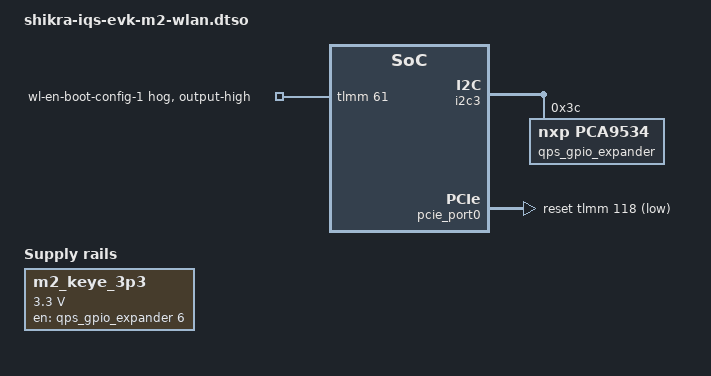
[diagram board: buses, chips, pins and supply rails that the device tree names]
// SPDX-License-Identifier: BSD-3-Clause
/*
 * Copyright (c) 2026 Qualcomm Technologies, Inc. and/or its subsidiaries.
 */

/dts-v1/;
/plugin/;

#include <dt-bindings/gpio/gpio.h>

&{/} {
	m2_keye_3p3: regulator-m2-keye-3p3 {
		compatible = "regulator-fixed";
		regulator-name = "VREG_3P3_KEYE";
		regulator-min-microvolt = <3300000>;
		regulator-max-microvolt = <3300000>;
		gpio = <&qps_gpio_expander 6 GPIO_ACTIVE_HIGH>;
		enable-active-high;
		regulator-boot-on;
		startup-delay-us = <100000>;
	};
};

&{/wcn3988-pmu} {
	status = "disabled";
};

&i2c3 {
	qps_gpio_expander: gpio@3c {
		compatible = "nxp,pca9534";
		reg = <0x3c>;
		gpio-controller;
		#gpio-cells = <2>;
	};
};

&pcie {
	iommu-map = <0x0 &apps_smmu 0x0800 0x0 0x1>,
		    <0x100 &apps_smmu 0x0801 0x0 0x1>;
	vddpe-3v3-supply = <&m2_keye_3p3>;
};

&pcie_port0 {
	reset-gpios = <&tlmm 118 GPIO_ACTIVE_LOW>;
};

&tc9563 {
	/* Keep the disabled switch node from matching the direct endpoint. */
	reg = <0x1ff00 0x0 0x0 0x0 0x0>;
	status = "disabled";
};

&wifi {
	status = "disabled";
};

&tlmm {
	wcn_wlan_en_hog: wcn-wlan-en-hog {
		gpio-hog;
		gpios = <61 GPIO_ACTIVE_HIGH>;
		output-high;
		line-name = "wl-en-boot-config-1";
	};
};
